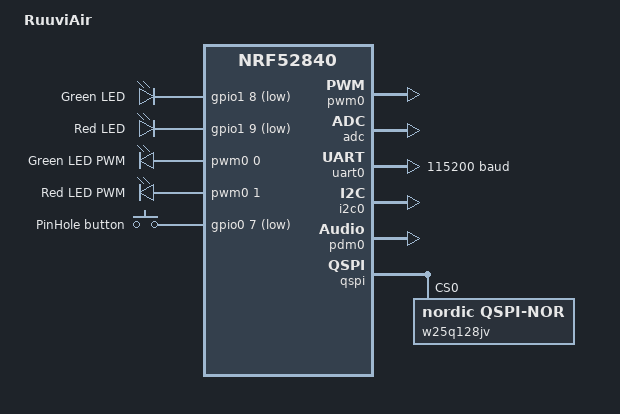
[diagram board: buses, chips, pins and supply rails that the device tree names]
/**
 * @copyright Ruuvi Innovations Ltd, license BSD-3-Clause.
 */

/dts-v1/;
#include <nordic/nrf52840_qfaa.dtsi>
#include <nordic/nrf52840_partition.dtsi>
#include "ruuvi_ruuviair-pinctrl.dtsi"
#include <zephyr/dt-bindings/input/input-event-codes.h>

/ {
    model = "RuuviAir";
    compatible = "ruuvi,ruuviair-nrf52840";

    chosen {
        zephyr,console = &uart0;
        zephyr,shell-uart = &uart0;
        zephyr,uart-mcumgr = &uart0;
        zephyr,bt-mon-uart = &uart0;
        zephyr,bt-c2h-uart = &uart0;
        zephyr,ieee802154 = &ieee802154;
        nordic,pm-ext-flash = &w25q128jv;
    };

    leds {
        compatible = "gpio-leds";
        led0: led_0 {
            gpios = <&gpio1 8 GPIO_ACTIVE_LOW>;
            label = "Green LED";
        };
        led1: led_1 {
            gpios = <&gpio1 9 GPIO_ACTIVE_LOW>;
            label = "Red LED";
        };
    };

	pwmleds {
		compatible = "pwm-leds";
		pwm_led0: pwm_led_0 {
			pwms = <&pwm0 0 PWM_MSEC(20) PWM_POLARITY_INVERTED>;
            label = "Green LED PWM";
		};
        pwm_led1: pwm_led_1 {
            pwms = <&pwm0 1 PWM_MSEC(20) PWM_POLARITY_INVERTED>;
            label = "Red LED PWM";
        };
	};

    buttons {
        compatible = "gpio-keys";
        button0: button_0 {
            gpios = <&gpio0 7 (GPIO_PULL_UP | GPIO_ACTIVE_LOW)>;
            label = "PinHole button";
            zephyr,code = <INPUT_KEY_0>;
        };
    };

    /* These aliases are provided for compatibility with samples */
    aliases {
        led0 = &led0;
        led-green = &led0;
        led-green-pwm = &pwm_led0;
        led1 = &led1;
        led-red = &led1;
        led-red-pwm = &pwm_led1;
        sw0 = &button0;
        bootloader-led0 = &led0;
        mcuboot-button0 = &button0;
        mcuboot-led0 = &led0;
        watchdog0 = &wdt0;
        button-pinhole = &button0;
    };
};

/delete-node/ &spi0;
/delete-node/ &spi1;
/delete-node/ &spi2;
/delete-node/ &spi3;
/delete-node/ &i2c1;
/delete-node/ &uart1;

&reg1 {
    regulator-initial-mode = <NRF5X_REG_MODE_DCDC>;
};

&pwm0 {
	status = "okay";
	pinctrl-0 = <&pwm0_default>;
	pinctrl-1 = <&pwm0_sleep>;
	pinctrl-names = "default", "sleep";
};

&adc {
    status = "okay";
};

&uicr {
    gpio-as-nreset;
};

&gpiote {
    status = "okay";
};

&gpio1 {
    status = "okay";
    gpio-line-names = "", "D0", "D1", "D2", "D3", "D4", "D5", "D6",
        "D7", "", "D8", "D9", "D10", "D11", "D12", "D13";
};

&uart0 {
    compatible = "nordic,nrf-uarte";
    status = "okay";
    current-speed = <115200>;
    pinctrl-0 = <&uart0_default>;
    pinctrl-1 = <&uart0_sleep>;
    pinctrl-names = "default", "sleep";
};

&i2c0 {
    compatible = "nordic,nrf-twi";
    status = "okay";
    pinctrl-0 = <&i2c0_default>;
    pinctrl-1 = <&i2c0_sleep>;
    pinctrl-names = "default", "sleep";
};

dmic_dev: &pdm0 {
    status = "okay";
    pinctrl-0 = <&pdm0_default>;
    pinctrl-1 = <&pdm0_sleep>;
    pinctrl-names = "default", "sleep";
    clock-source = "PCLK32M_HFXO";
};

&qspi {
    status = "okay";
    pinctrl-0 = <&qspi_default>;
    pinctrl-1 = <&qspi_sleep>;
    pinctrl-names = "default", "sleep";
    w25q128jv: w25q128jv@0 {
        compatible = "nordic,qspi-nor";
        reg = <0>;
        /* Using Quad I/O commands, as the chip supports quad operations */
        writeoc = "pp4o";
        readoc = "read4io";
        quad-enable-requirements = "S2B1v1";
        sck-frequency = <8000000>;
        jedec-id = [ef 40 18];
        /* Size is in bits. 128 Mbit equals 16 MiB */
        size = <0x08000000>;
        has-dpd;
        t-enter-dpd = <3000>;
        t-exit-dpd = <3000>;
    };
};
